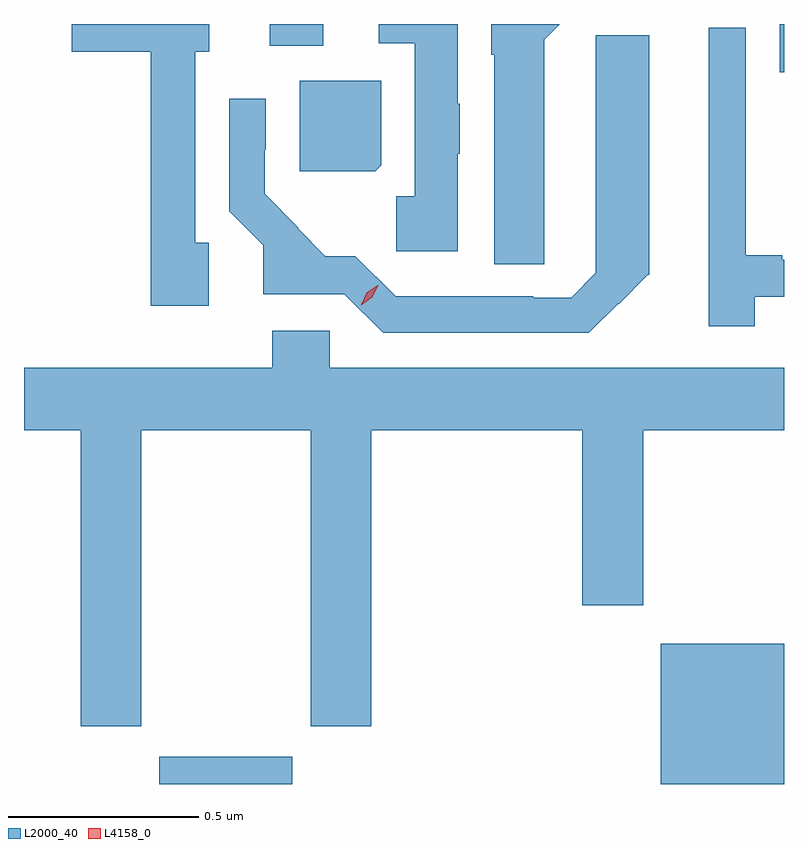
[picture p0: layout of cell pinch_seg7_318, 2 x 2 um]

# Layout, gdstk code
import gdstk
lib = gdstk.Library(unit=1e-6, precision=1e-09)
def R(c, l, rs):  # rectangles x0, y0, x1, y1
    for r in rs: c.add(gdstk.rectangle(r[:2], r[2:], *l))
def P(c, l, *ps):  # polygons
    for p in ps: c.add(gdstk.Polygon(p, *l))
L2000_40 = (2000, 40)
L4158_0 = (4158, 0)

pinch_seg7_318 = lib.new_cell('pinch_seg7_318')
R(pinch_seg7_318, L2000_40, [(551.642,1072.945,551.992,1073.017), (552.962,1072.945,553.286,1073.314), (553.275,1074.818,553.286,1074.945), (551.933,1074.888,552.073,1074.945)])
P(pinch_seg7_318, L2000_40, [(551.772,1074.369),(551.736,1074.369),(551.736,1074.872),(551.773,1074.872),(551.773,1074.945),(551.412,1074.945),(551.412,1074.872),(551.62,1074.872),(551.62,1074.519),(551.619,1074.519),(551.619,1074.204),(551.772,1074.204)],
  [(552.655,1074.904),(552.696,1074.945),(552.515,1074.945),(552.515,1074.864),(552.524,1074.864),(552.524,1074.313),(552.655,1074.313)],
  [(552.427,1074.603),(552.433,1074.603),(552.433,1074.735),(552.427,1074.735),(552.427,1074.945),(552.219,1074.945),(552.219,1074.894),(552.314,1074.894),(552.314,1074.492),(552.266,1074.492),(552.266,1074.347),(552.427,1074.347)],
  [(553.209,1074.227),(553.286,1074.227),(553.286,1074.324),(553.282,1074.324),(553.282,1074.337),(553.185,1074.337),(553.185,1074.935),(553.088,1074.935),(553.088,1074.15),(553.209,1074.15)],
  [(552.85,1074.209),(552.851,1074.208),(552.928,1074.285),(552.931,1074.285),(552.931,1074.916),(552.791,1074.916),(552.791,1074.29),(552.726,1074.225),(552.626,1074.225),(552.626,1074.228),(552.264,1074.228),(552.158,1074.334),(552.079,1074.334),(552.006,1074.407),(552.008,1074.409),(551.919,1074.498),(551.919,1074.614),(551.922,1074.614),(551.922,1074.748),(551.826,1074.748),(551.826,1074.452),(551.915,1074.363),(551.915,1074.234),(552.129,1074.234),(552.231,1074.132),(552.772,1074.132)],
  [(552.226,1074.573),(552.226,1074.796),(552.011,1074.796),(552.011,1074.557),(552.21,1074.557)],
  [(551.595,1073.876),(552.04,1073.876),(552.04,1073.097),(552.2,1073.097),(552.2,1073.876),(552.755,1073.876),(552.755,1073.415),(552.915,1073.415),(552.915,1073.876),(553.286,1073.876),(553.286,1074.04),(552.09,1074.04),(552.09,1074.138),(551.939,1074.138),(551.939,1074.04),(551.286,1074.04),(551.286,1073.876),(551.435,1073.876),(551.435,1073.097),(551.595,1073.097)])
P(pinch_seg7_318, L4158_0, [(552.174,1074.205),(552.174,1074.206),(552.188,1074.238),(552.217,1074.258),(552.218,1074.258),(552.218,1074.258),(552.203,1074.226),(552.174,1074.205)])

lib.write_gds('pinch_seg7_318.gds')
